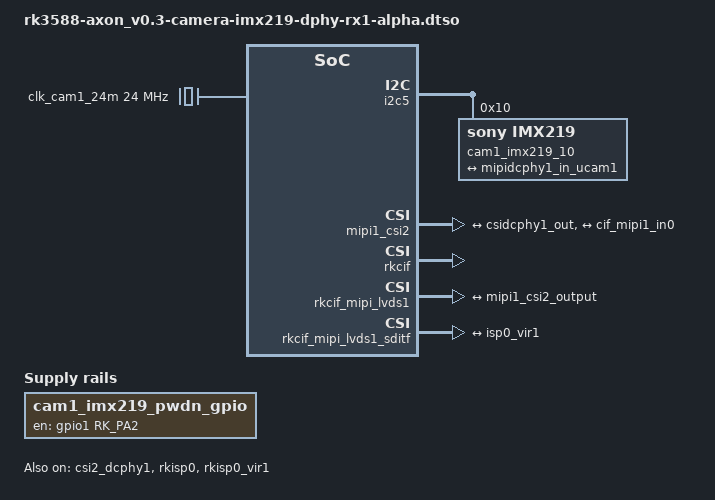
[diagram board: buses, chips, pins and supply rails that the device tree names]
// SPDX-License-Identifier: GPL-2.0+
// Copyright (C) 2024 Vicharak Computers PVT LTD

/dts-v1/;
/plugin/;

#include <dt-bindings/gpio/gpio.h>
#include <dt-bindings/pinctrl/rockchip.h>

&{/} {
	metadata {
		title = "Enable RasPi Camera V2 (IMX219) on dphy RX1 Alpha Axon V0.3";
		compatible = "vicharak,rk3588-axon", "rockchip,rk3588";
		category = "camera";
		exclusive = "cam1", "imx219_5_10", "csi2_dcphy1", "mipi1_csi2", \
			    "rkcif_mipi_lvds1", "rkcif_mipi_lvds1_sditf", \
			    "rkisp0_vir1";
		description = "Enables IMX219 based RaspberryPi Camera V2 on
\t\tVicharak Axon at I2C 5 bus address 10 on dphy RX1";
	};

	cam1_imx219_pwdn_gpio: cam1-pwdn-gpio {
		status = "okay";
		compatible = "regulator-fixed";
		regulator-name = "cam1_pwdn_gpio";
		regulator-always-on;
		regulator-boot-on;
		enable-active-high;
		gpio = <&gpio1 RK_PA2 GPIO_ACTIVE_HIGH>;
		pinctrl-names = "default";
		pinctrl-0 = <&cam1_pwdn_gpio>;
	};

	clk_cam1_24m: external-cam1-clock-24m {
		status = "okay";
		compatible = "fixed-clock";
		clock-frequency = <24000000>;
		clock-output-names = "clk_cam1_24m";
		#clock-cells = <0>;
	};
};

&i2c5 {
	status = "okay";
	#address-cells = <1>;
	#size-cells = <0>;
	pinctrl-0 = <&i2c5m0_xfer>;

	cam1_imx219_10: cam1-imx219@10 {
		status = "okay";
		compatible = "sony,imx219";
		reg = <0x10>;

		clocks = <&clk_cam1_24m>;
		clock-names = "xclk";

		rockchip,camera-module-index = <1>;
		rockchip,camera-module-facing = "front";
		rockchip,camera-module-name = "rpi-camera-v2";
		rockchip,camera-module-lens-name = "default";

		port {
			cam1_imx219_out0: endpoint {
				remote-endpoint = <&mipidcphy1_in_ucam1>;
				data-lanes = <1 2>;
			};
		};
	};
};

&csi2_dcphy1 {
	status = "okay";

	ports {
		#address-cells = <1>;
		#size-cells = <0>;

		port@0 {
			reg = <0>;
			#address-cells = <1>;
			#size-cells = <0>;

			mipidcphy1_in_ucam1: endpoint@1 {
				reg = <1>;
				remote-endpoint = <&cam1_imx219_out0>;
				data-lanes = <1 2>;
			};
		};

		port@1 {
			reg = <1>;
			#address-cells = <1>;
			#size-cells = <0>;

			csidcphy1_out: endpoint@0 {
				reg = <0>;
				remote-endpoint = <&mipi1_csi2_input>;
			};
		};
	};
};

&mipi1_csi2 {
	status = "okay";

	ports {
		#address-cells = <1>;
		#size-cells = <0>;

		port@0 {
			reg = <0>;
			#address-cells = <1>;
			#size-cells = <0>;

			mipi1_csi2_input: endpoint@1 {
				reg = <1>;
				remote-endpoint = <&csidcphy1_out>;
			};
		};

		port@1 {
			reg = <1>;
			#address-cells = <1>;
			#size-cells = <0>;

			mipi1_csi2_output: endpoint@0 {
				reg = <0>;
				remote-endpoint = <&cif_mipi1_in0>;
			};
		};
	};
};

&rkcif {
	status = "okay";
};

&rkcif_mipi_lvds1 {
	status = "okay";

	port {
		cif_mipi1_in0: endpoint {
			remote-endpoint = <&mipi1_csi2_output>;
		};
	};
};

&rkcif_mipi_lvds1_sditf {
	status = "okay";

	port {
		mipi1_lvds1_sditf: endpoint {
			remote-endpoint = <&isp0_vir1>;
		};
	};
};

&rkcif_mmu {
	status = "okay";
};

&rkisp0 {
	status = "okay";
};

&isp0_mmu {
	status = "okay";
};

&rkisp0_vir1 {
	status = "okay";

	port {
		#address-cells = <1>;
		#size-cells = <0>;

		isp0_vir1: endpoint@0 {
			reg = <0>;
			remote-endpoint = <&mipi1_lvds1_sditf>;
		};
	};
};

&pinctrl {
	camera {
		cam1_pwdn_gpio: cam1-pwdn-gpio {
			rockchip,pins = <1 RK_PA2 RK_FUNC_GPIO &pcfg_pull_up>;
		};
	};
};
